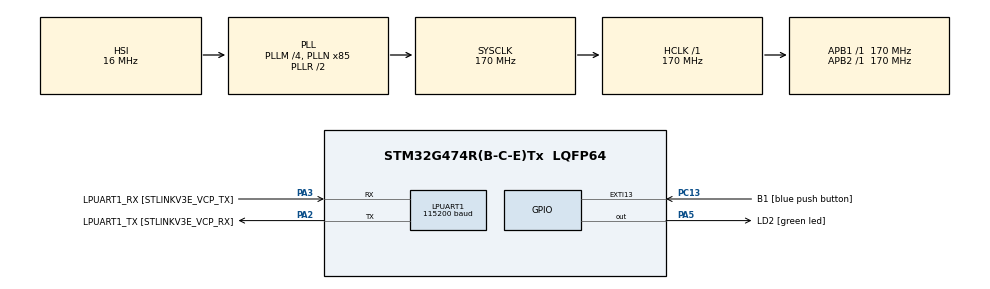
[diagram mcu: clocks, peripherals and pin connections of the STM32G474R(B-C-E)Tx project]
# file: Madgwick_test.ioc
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LPUART1.BaudRate=115200
LPUART1.WordLength=UART_WORDLENGTH_8B
Mcu.Family=STM32G4
Mcu.Name=STM32G474R(B-C-E)Tx
Mcu.Package=LQFP64
NVIC.EXTI15_10_IRQn=true\:0\:0\:false\:false\:true\:true\:true\:true
NVIC.PriorityGroup=NVIC_PRIORITYGROUP_4
PA13.GPIO_Label=T_SWDIO
PA13.Mode=Serial_Wire
PA13.Signal=SYS_JTMS-SWDIO
PA14.GPIO_Label=T_SWCLK
PA14.Mode=Serial_Wire
PA14.Signal=SYS_JTCK-SWCLK
PA2.GPIO_Label=LPUART1_TX [STLINKV3E_VCP_RX]
PA2.Mode=Asynchronous
PA2.Signal=LPUART1_TX
PA3.GPIO_Label=LPUART1_RX [STLINKV3E_VCP_TX]
PA3.Mode=Asynchronous
PA3.Signal=LPUART1_RX
PA5.GPIO_Label=LD2 [green led]
PA5.Signal=GPIO_Output
PB3.GPIO_Label=T_SWO
PB3.Signal=SYS_JTDO-SWO
PC13.GPIO_Label=B1 [blue push button]
PC13.Signal=GPXTI13
PC14-OSC32_IN.Mode=LSE-External-Oscillator
PC14-OSC32_IN.Signal=RCC_OSC32_IN
PC15-OSC32_OUT.Mode=LSE-External-Oscillator
PC15-OSC32_OUT.Signal=RCC_OSC32_OUT
PF0-OSC_IN.Mode=HSE-External-Oscillator
PF0-OSC_IN.Signal=RCC_OSC_IN
PF1-OSC_OUT.Mode=HSE-External-Oscillator
PF1-OSC_OUT.Signal=RCC_OSC_OUT
ProjectManager.HeapSize=0x200
ProjectManager.StackSize=0x400
ProjectManager.TargetToolchain=STM32CubeIDE
RCC.ADC12Freq_Value=170000000
RCC.ADC345Freq_Value=170000000
RCC.AHBFreq_Value=170000000
RCC.APB1Freq_Value=170000000
RCC.APB1TimFreq_Value=170000000
RCC.APB2Freq_Value=170000000
RCC.APB2TimFreq_Value=170000000
RCC.CortexFreq_Value=170000000
RCC.EXTERNAL_CLOCK_VALUE=12288000
RCC.HCLKFreq_Value=170000000
RCC.HSE_VALUE=24000000
RCC.HSI48_VALUE=48000000
RCC.HSI_VALUE=16000000
RCC.PLLM=RCC_PLLM_DIV4
RCC.PLLN=85
RCC.RTCClockSelection=RCC_RTCCLKSOURCE_LSE
RCC.SYSCLKFreq_VALUE=170000000
RCC.SYSCLKSource=RCC_SYSCLKSOURCE_PLLCLK
RCC.USBFreq_Value=170000000
RCC.VCOOutputFreq_Value=340000000
TIM2.Prescaler=170-1
VP_SYS_VS_DBSignals.Mode=DisableDeadBatterySignals
VP_TIM2_VS_ClockSourceINT.Mode=Internal
board=NUCLEO-G474RE

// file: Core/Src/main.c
/* USER CODE BEGIN Header */
/**
  ******************************************************************************
  * @file           : main.c
  * @brief          : Main program body
  ******************************************************************************
  * @attention
  *
  * Copyright (c) 2025 STMicroelectronics.
  * All rights reserved.
  *
  * This software is licensed under terms that can be found in the LICENSE file
  * in the root directory of this software component.
  * If no LICENSE file comes with this software, it is provided AS-IS.
  *
  ******************************************************************************
  */
/* USER CODE END Header */
#include "main.h"

/* USER CODE BEGIN Includes */
#include "MadgwickAHRS.h"
#include <math.h>
#include <stdlib.h>
#include <stdio.h>
/* USER CODE END Includes */

UART_HandleTypeDef hlpuart1;

TIM_HandleTypeDef htim2;

/* USER CODE BEGIN PV */
// MadgwickAHRS.c 内の変数を参照
extern volatile float beta;
// 調整パラメータ
#define BETA_GAIN 0.1f

// シミュレーション時間
float sim_time = 0.0f;
float gyro_integ_rad = 0.0f;
/* USER CODE END PV */

void SystemClock_Config(void);
static void MX_GPIO_Init(void);
static void MX_LPUART1_UART_Init(void);
static void MX_TIM2_Init(void);

int main(void)
{

  /* MCU Configuration--------------------------------------------------------*/

  /* Reset of all peripherals, Initializes the Flash interface and the Systick. */
  HAL_Init();

  /* Configure the system clock */
  SystemClock_Config();

  /* Initialize all configured peripherals */
  MX_GPIO_Init();
  MX_LPUART1_UART_Init();
  MX_TIM2_Init();
  /* USER CODE BEGIN 2 */
  // タイマー開始 (TIM2: 1MHz設定を想定)
    HAL_TIM_Base_Start(&htim2);

    // フィルタ初期化
    beta = BETA_GAIN;
    uint32_t last_time_us = __HAL_TIM_GET_COUNTER(&htim2);

    printf("Time_s, True_Roll, Noisy_Accel_Roll, Madgwick_Roll, Gyro_Only_Roll, dt_ms\r\n");
  /* USER CODE END 2 */

  /* Infinite loop */
  /* USER CODE BEGIN WHILE */
  while (1)
  {
	    // (1) 高精度 dt 計測
	    uint32_t now_us  = __HAL_TIM_GET_COUNTER(&htim2);
	    uint32_t elapsed = now_us - last_time_us;
	    last_time_us     = now_us;

	    float dt = (float)elapsed / 1000000.0f;
	    if (dt <= 0.0f) dt = 0.001f;   // ゼロ除算防止

	    sim_time += dt;

	    // (2) ダミー信号生成
	    // 真の動き：±45°（0.785 rad）、0.5 Hz 正弦波
	    const float FREQ = 0.5f, AMP = 0.785f;
	    float true_angle = AMP * sinf(2.0f * 3.14159f * FREQ * sim_time);
	    float true_rate  = AMP * (2.0f * 3.14159f * FREQ)
	                           * cosf(2.0f * 3.14159f * FREQ * sim_time);

	    // ジャイロ：真の角速度 + バイアス +0.1 rad/s
	    float gx = true_rate + 0.1f;
	    float gy = 0.0f, gz = 0.0f;

	    // 加速度：重力投影 + 白色雑音
	    float ay = sinf(true_angle) + ((float)rand() / RAND_MAX - 0.5f) * 0.4f;
	    float az = cosf(true_angle) + ((float)rand() / RAND_MAX - 0.5f) * 0.4f;
	    float ax = 0.0f;

	    // (3) Madgwick フィルタ実行
	    MadgwickAHRSupdateIMU(gx, gy, gz, ax, ay, az, dt);

	    // (4) ジャイロ単体積分（比較用）
	    gyro_integ_rad += gx * dt;

	    // (5) 結果出力（CSV 形式）
	    extern volatile float q0, q1, q2, q3;
	    float roll_rad = atan2f(q0*q1 + q2*q3, 0.5f - q1*q1 - q2*q2);

	    printf("%.3f, %.2f, %.2f, %.2f, %.2f, %.2f\r\n",
	           sim_time,
	           true_angle     * 57.29578f,   // 真値 [deg]
	           atan2f(ay, az) * 57.29578f,   // 加速度のみ [deg]
	           roll_rad       * 57.29578f,   // Madgwick [deg]
	           gyro_integ_rad * 57.29578f,   // ジャイロ積分 [deg]
	           dt * 1000.0f);                 // ループ周期確認 [ms]

	    HAL_Delay(10);
    /* USER CODE END WHILE */

  }
}

void SystemClock_Config(void)
{
  RCC_OscInitTypeDef RCC_OscInitStruct = {0};
  RCC_ClkInitTypeDef RCC_ClkInitStruct = {0};

  /** Configure the main internal regulator output voltage
  */
  HAL_PWREx_ControlVoltageScaling(PWR_REGULATOR_VOLTAGE_SCALE1_BOOST);

  /** Initializes the RCC Oscillators according to the specified parameters
  * in the RCC_OscInitTypeDef structure.
  */
  RCC_OscInitStruct.OscillatorType = RCC_OSCILLATORTYPE_HSI;
  RCC_OscInitStruct.HSIState = RCC_HSI_ON;
  RCC_OscInitStruct.HSICalibrationValue = RCC_HSICALIBRATION_DEFAULT;
  RCC_OscInitStruct.PLL.PLLState = RCC_PLL_ON;
  RCC_OscInitStruct.PLL.PLLSource = RCC_PLLSOURCE_HSI;
  RCC_OscInitStruct.PLL.PLLM = RCC_PLLM_DIV4;
  RCC_OscInitStruct.PLL.PLLN = 85;
  RCC_OscInitStruct.PLL.PLLP = RCC_PLLP_DIV2;
  RCC_OscInitStruct.PLL.PLLQ = RCC_PLLQ_DIV2;
  RCC_OscInitStruct.PLL.PLLR = RCC_PLLR_DIV2;
  if (HAL_RCC_OscConfig(&RCC_OscInitStruct) != HAL_OK)
  {
    Error_Handler();
  }

  /** Initializes the CPU, AHB and APB buses clocks
  */
  RCC_ClkInitStruct.ClockType = RCC_CLOCKTYPE_HCLK|RCC_CLOCKTYPE_SYSCLK
                              |RCC_CLOCKTYPE_PCLK1|RCC_CLOCKTYPE_PCLK2;
  RCC_ClkInitStruct.SYSCLKSource = RCC_SYSCLKSOURCE_PLLCLK;
  RCC_ClkInitStruct.AHBCLKDivider = RCC_SYSCLK_DIV1;
  RCC_ClkInitStruct.APB1CLKDivider = RCC_HCLK_DIV1;
  RCC_ClkInitStruct.APB2CLKDivider = RCC_HCLK_DIV1;

  if (HAL_RCC_ClockConfig(&RCC_ClkInitStruct, FLASH_LATENCY_4) != HAL_OK)
  {
    Error_Handler();
  }
}

static void MX_LPUART1_UART_Init(void)
{

  hlpuart1.Instance = LPUART1;
  hlpuart1.Init.BaudRate = 115200;
  hlpuart1.Init.WordLength = UART_WORDLENGTH_8B;
  hlpuart1.Init.StopBits = UART_STOPBITS_1;
  hlpuart1.Init.Parity = UART_PARITY_NONE;
  hlpuart1.Init.Mode = UART_MODE_TX_RX;
  hlpuart1.Init.HwFlowCtl = UART_HWCONTROL_NONE;
  hlpuart1.Init.OneBitSampling = UART_ONE_BIT_SAMPLE_DISABLE;
  hlpuart1.Init.ClockPrescaler = UART_PRESCALER_DIV1;
  hlpuart1.AdvancedInit.AdvFeatureInit = UART_ADVFEATURE_NO_INIT;
  if (HAL_UART_Init(&hlpuart1) != HAL_OK)
  {
    Error_Handler();
  }
  if (HAL_UARTEx_SetTxFifoThreshold(&hlpuart1, UART_TXFIFO_THRESHOLD_1_8) != HAL_OK)
  {
    Error_Handler();
  }
  if (HAL_UARTEx_SetRxFifoThreshold(&hlpuart1, UART_RXFIFO_THRESHOLD_1_8) != HAL_OK)
  {
    Error_Handler();
  }
  if (HAL_UARTEx_DisableFifoMode(&hlpuart1) != HAL_OK)
  {
    Error_Handler();
  }

}

static void MX_TIM2_Init(void)
{

  TIM_ClockConfigTypeDef sClockSourceConfig = {0};
  TIM_MasterConfigTypeDef sMasterConfig = {0};

  htim2.Instance = TIM2;
  htim2.Init.Prescaler = 170-1;
  htim2.Init.CounterMode = TIM_COUNTERMODE_UP;
  htim2.Init.Period = 4294967295;
  htim2.Init.ClockDivision = TIM_CLOCKDIVISION_DIV1;
  htim2.Init.AutoReloadPreload = TIM_AUTORELOAD_PRELOAD_DISABLE;
  if (HAL_TIM_Base_Init(&htim2) != HAL_OK)
  {
    Error_Handler();
  }
  sClockSourceConfig.ClockSource = TIM_CLOCKSOURCE_INTERNAL;
  if (HAL_TIM_ConfigClockSource(&htim2, &sClockSourceConfig) != HAL_OK)
  {
    Error_Handler();
  }
  sMasterConfig.MasterOutputTrigger = TIM_TRGO_RESET;
  sMasterConfig.MasterSlaveMode = TIM_MASTERSLAVEMODE_DISABLE;
  if (HAL_TIMEx_MasterConfigSynchronization(&htim2, &sMasterConfig) != HAL_OK)
  {
    Error_Handler();
  }

}

static void MX_GPIO_Init(void)
{
  GPIO_InitTypeDef GPIO_InitStruct = {0};

  /* GPIO Ports Clock Enable */
  __HAL_RCC_GPIOC_CLK_ENABLE();
  __HAL_RCC_GPIOF_CLK_ENABLE();
  __HAL_RCC_GPIOA_CLK_ENABLE();
  __HAL_RCC_GPIOB_CLK_ENABLE();

  /*Configure GPIO pin Output Level */
  HAL_GPIO_WritePin(LD2_GPIO_Port, LD2_Pin, GPIO_PIN_RESET);

  /*Configure GPIO pin : B1_Pin */
  GPIO_InitStruct.Pin = B1_Pin;
  GPIO_InitStruct.Mode = GPIO_MODE_IT_RISING;
  GPIO_InitStruct.Pull = GPIO_NOPULL;
  HAL_GPIO_Init(B1_GPIO_Port, &GPIO_InitStruct);

  /*Configure GPIO pin : LD2_Pin */
  GPIO_InitStruct.Pin = LD2_Pin;
  GPIO_InitStruct.Mode = GPIO_MODE_OUTPUT_PP;
  GPIO_InitStruct.Pull = GPIO_NOPULL;
  GPIO_InitStruct.Speed = GPIO_SPEED_FREQ_LOW;
  HAL_GPIO_Init(LD2_GPIO_Port, &GPIO_InitStruct);

  /* EXTI interrupt init*/
  HAL_NVIC_SetPriority(EXTI15_10_IRQn, 0, 0);
  HAL_NVIC_EnableIRQ(EXTI15_10_IRQn);

}

/* USER CODE BEGIN 4 */
int _write(int file, char *ptr, int len) {
  HAL_UART_Transmit(&hlpuart1, (uint8_t *)ptr, len, 100);
  return len;
}
/* USER CODE END 4 */

void Error_Handler(void)
{
  __disable_irq();
  while (1)
  {
  }
}
